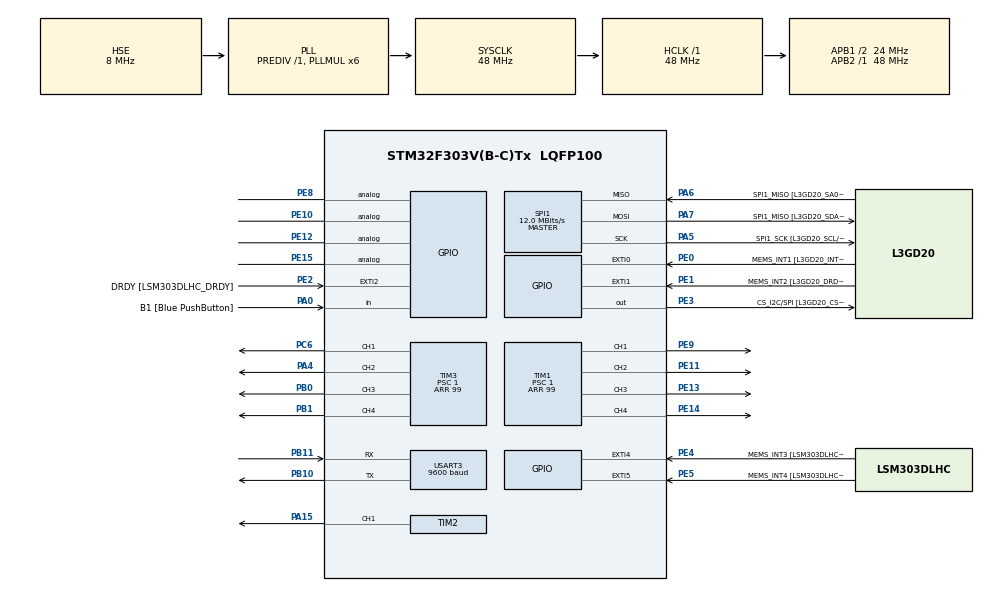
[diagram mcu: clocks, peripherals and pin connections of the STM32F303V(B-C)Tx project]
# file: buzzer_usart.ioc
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Mcu.Family=STM32F3
Mcu.Name=STM32F303V(B-C)Tx
Mcu.Package=LQFP100
NVIC.PriorityGroup=NVIC_PRIORITYGROUP_1
NVIC.TIM4_IRQn=true\:0\:0\:false\:false\:true\:true\:true
NVIC.USART3_IRQn=true\:1\:1\:true\:false\:true\:true\:true
PA0.GPIO_Label=B1 [Blue PushButton]
PA0.Signal=GPIO_Input
PA12.GPIO_Label=DP
PA12.Signal=USB_DP
PA13.GPIO_Label=SWDIO
PA13.Mode=Serial_Wire
PA13.Signal=SYS_JTMS-SWDIO
PA14.GPIO_Label=SWCLK
PA14.Mode=Serial_Wire
PA14.Signal=SYS_JTCK-SWCLK
PA15.Signal=S_TIM2_CH1_ETR
PA4.Signal=S_TIM3_CH2
PA5.GPIO_Label=SPI1_SCK [L3GD20_SCL/SPC]
PA5.Mode=Full_Duplex_Master
PA5.Signal=SPI1_SCK
PA6.GPIO_Label=SPI1_MISO [L3GD20_SA0/SDO]
PA6.Mode=Full_Duplex_Master
PA6.Signal=SPI1_MISO
PA7.GPIO_Label=SPI1_MISO [L3GD20_SDA/SDI/SDO]
PA7.Mode=Full_Duplex_Master
PA7.Signal=SPI1_MOSI
PB0.Signal=S_TIM3_CH3
PB1.Signal=S_TIM3_CH4
PB10.Mode=Asynchronous
PB10.Signal=USART3_TX
PB11.Mode=Asynchronous
PB11.Signal=USART3_RX
PB3.GPIO_Label=SWO
PB3.Signal=SYS_JTDO-TRACESWO
PB6.GPIO_Label=I2C1_SCL [LSM303DLHC_SCL]
PB6.GPIO_Pu=GPIO_PULLUP
PB6.Signal=I2C1_SCL
PB7.GPIO_Label=I2C1_SDA [LSM303DLHC_SDA]
PB7.GPIO_Pu=GPIO_PULLUP
PB7.Signal=I2C1_SDA
PC14-OSC32_IN.GPIO_Label=OSC32_IN
PC14-OSC32_IN.Signal=RCC_OSC32_IN
PC15-OSC32_OUT.GPIO_Label=OSC32_OUT
PC15-OSC32_OUT.Signal=RCC_OSC32_OUT
PC6.Signal=S_TIM3_CH1
PE0.GPIO_Label=MEMS_INT1 [L3GD20_INT1]
PE0.GPIO_ModeDefaultEXTI=GPIO_MODE_EVT_RISING
PE0.Signal=GPXTI0
PE1.GPIO_Label=MEMS_INT2 [L3GD20_DRDY/INT2]
PE1.GPIO_ModeDefaultEXTI=GPIO_MODE_EVT_RISING
PE1.Signal=GPXTI1
PE10.Signal=SharedAnalog_PE10
PE11.Signal=S_TIM1_CH2
PE12.Signal=SharedAnalog_PE12
PE13.Signal=S_TIM1_CH3
PE14.Signal=S_TIM1_CH4
PE15.Signal=SharedAnalog_PE15
PE2.GPIO_Label=DRDY [LSM303DLHC_DRDY]
PE2.GPIO_ModeDefaultEXTI=GPIO_MODE_EVT_RISING
PE2.Signal=GPXTI2
PE3.GPIO_Label=CS_I2C/SPI [L3GD20_CS_I2C/SPI]
PE3.Signal=GPIO_Output
PE4.GPIO_Label=MEMS_INT3 [LSM303DLHC_INT1]
PE4.GPIO_ModeDefaultEXTI=GPIO_MODE_EVT_RISING
PE4.Signal=GPXTI4
PE5.GPIO_Label=MEMS_INT4 [LSM303DLHC_INT2]
PE5.GPIO_ModeDefaultEXTI=GPIO_MODE_EVT_RISING
PE5.Signal=GPXTI5
PE8.Signal=SharedAnalog_PE8
PE9.Signal=S_TIM1_CH1
PF0-OSC_IN.GPIO_Label=OSC_IN
PF0-OSC_IN.Mode=HSE-External-Oscillator
PF0-OSC_IN.Signal=RCC_OSC_IN
PF1-OSC_OUT.GPIO_Label=OSC_OUT
PF1-OSC_OUT.Mode=HSE-External-Oscillator
PF1-OSC_OUT.Signal=RCC_OSC_OUT
ProjectManager.HeapSize=0x200
ProjectManager.StackSize=0x400
ProjectManager.TargetToolchain=STM32CubeIDE
RCC.AHBFreq_Value=48000000
RCC.APB1CLKDivider=RCC_HCLK_DIV2
RCC.APB1Freq_Value=24000000
RCC.APB1TimFreq_Value=48000000
RCC.APB2Freq_Value=48000000
RCC.APB2TimFreq_Value=48000000
RCC.CortexFreq_Value=48000000
RCC.HCLKFreq_Value=48000000
RCC.HSE_VALUE=8000000
RCC.HSI_VALUE=8000000
RCC.LSE_VALUE=32768
RCC.PLLMUL=RCC_PLL_MUL6
RCC.PLLSourceVirtual=RCC_PLLSOURCE_HSE
RCC.SYSCLKFreq_VALUE=48000000
RCC.SYSCLKSourceVirtual=RCC_SYSCLKSOURCE_PLLCLK
RCC.USBFreq_Value=48000000
SH.S_TIM1_CH1.0=TIM1_CH1,PWM Generation1 CH1
SH.S_TIM1_CH2.0=TIM1_CH2,PWM Generation2 CH2
SH.S_TIM1_CH3.0=TIM1_CH3,PWM Generation3 CH3
SH.S_TIM1_CH4.0=TIM1_CH4,PWM Generation4 CH4
SH.S_TIM2_CH1_ETR.0=TIM2_CH1,PWM Generation1 CH1
SH.S_TIM3_CH1.0=TIM3_CH1,PWM Generation1 CH1
SH.S_TIM3_CH2.0=TIM3_CH2,PWM Generation2 CH2
SH.S_TIM3_CH3.0=TIM3_CH3,PWM Generation3 CH3
SH.S_TIM3_CH4.0=TIM3_CH4,PWM Generation4 CH4
SH.SharedAnalog_PE10.0=ADC3_IN14
SH.SharedAnalog_PE10.1=GPIO_Analog
SH.SharedAnalog_PE12.0=ADC3_IN16
SH.SharedAnalog_PE12.1=GPIO_Analog
SH.SharedAnalog_PE15.0=ADC4_IN2
SH.SharedAnalog_PE15.1=GPIO_Analog
SH.SharedAnalog_PE8.0=ADC3_IN6
SH.SharedAnalog_PE8.1=GPIO_Analog
SPI1.BaudRatePrescaler=SPI_BAUDRATEPRESCALER_4
SPI1.BaudRatePrescaler-Full_Duplex_Master=SPI_BAUDRATEPRESCALER_2
SPI1.CalculateBaudRate=12.0 MBits/s
SPI1.CalculateBaudRate-Full_Duplex_Master=24.0 MBits/s
SPI1.Direction=SPI_DIRECTION_2LINES
SPI1.Mode=SPI_MODE_MASTER
SPI1.Mode-Full_Duplex_Master=SPI_MODE_MASTER
SPI1.VirtualType=VM_MASTER
TIM1.Channel-PWM\ Generation1\ CH1=TIM_CHANNEL_1
TIM1.Channel-PWM\ Generation2\ CH2=TIM_CHANNEL_2
TIM1.Channel-PWM\ Generation3\ CH3=TIM_CHANNEL_3
TIM1.Channel-PWM\ Generation4\ CH4=TIM_CHANNEL_4
TIM1.Period=99
TIM1.Prescaler=1
TIM2.Channel-PWM\ Generation1\ CH1=TIM_CHANNEL_1
TIM2.Period=99
TIM2.Prescaler=1
TIM3.Channel-PWM\ Generation1\ CH1=TIM_CHANNEL_1
TIM3.Channel-PWM\ Generation2\ CH2=TIM_CHANNEL_2
TIM3.Channel-PWM\ Generation3\ CH3=TIM_CHANNEL_3
TIM3.Channel-PWM\ Generation4\ CH4=TIM_CHANNEL_4
TIM3.Period=99
TIM3.Prescaler=1
TIM4.Period=9999
TIM4.Prescaler=299
USART3.BaudRate=9600
USART3.VirtualMode-Asynchronous=VM_ASYNC
VP_TIM1_VS_ClockSourceINT.Mode=Internal
VP_TIM2_VS_ClockSourceINT.Mode=Internal
VP_TIM4_VS_ClockSourceINT.Mode=Internal
board=STM32F3DISCOVERY

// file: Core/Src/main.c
/* USER CODE BEGIN Header */
/**
  ******************************************************************************
  * @file           : main.c
  * @brief          : Main program body
  ******************************************************************************
  * @attention
  *
  * <h2><center>&copy; Copyright (c) 2021 STMicroelectronics.
  * All rights reserved.</center></h2>
  *
  * This software component is licensed by ST under BSD 3-Clause license,
  * the "License"; You may not use this file except in compliance with the
  * License. You may obtain a copy of the License at:
  *                        opensource.org/licenses/BSD-3-Clause
  *
  ******************************************************************************
  */
/* USER CODE END Header */
#include "main.h"

/* USER CODE BEGIN Includes */
#include "string.h"
#include "stdio.h"
/* USER CODE END Includes */

SPI_HandleTypeDef hspi1;

TIM_HandleTypeDef htim1;
TIM_HandleTypeDef htim2;
TIM_HandleTypeDef htim3;
TIM_HandleTypeDef htim4;

UART_HandleTypeDef huart3;

void SystemClock_Config(void);
static void MX_GPIO_Init(void);
static void MX_SPI1_Init(void);
static void MX_TIM1_Init(void);
static void MX_TIM2_Init(void);
static void MX_USART3_UART_Init(void);
static void MX_TIM3_Init(void);
static void MX_TIM4_Init(void);

/* USER CODE BEGIN 0 */
unsigned char data;
unsigned char msg[30] = {'\0'};
int msg_pointer = 0;
int sw = 0;
uint16_t freq = 0;
void clean_msg() {
    for(int i = 0; i < 30; i++) {
      msg[i] = '\0';
    }
}

int command_type() {
  unsigned char command_2[] = {'S', 'E', 'T', ' ', 'B', 'U', 'Z', 'Z', 'E', 'R', ' ', 'F', 'R', 'E', 'Q', ' ', 'T', 'O', ' '};

  unsigned char command_1[] = {'S', 'E', 'T', ' ', 'L', 'E', 'D', ' ', 'T', 'O', ' '};

  int i = 0;
  for(i = 0; i < 11; i++) {
    if(msg[i] != command_1[i]) {
      break;
    }
  }
  if(i == 11) return 1;
  for(i = 0; i < 19; i++) {
    if(msg[i] != command_2[i]) {
      break;
    }
  }
  if(i == 19) return 2;
  return -1;
}
void handle_command() {
  int num = 0;
  int cmd_type = command_type();
  if(cmd_type == -1) return;

  if(cmd_type == 1) {
    sscanf(msg, "SET LED TO %d", &num);
    if(num < 0 || num > 100) return;
    __HAL_TIM_SET_COMPARE(&htim1, TIM_CHANNEL_1, num);
    __HAL_TIM_SET_COMPARE(&htim1, TIM_CHANNEL_2, num);
    __HAL_TIM_SET_COMPARE(&htim1, TIM_CHANNEL_3, num);
    __HAL_TIM_SET_COMPARE(&htim1, TIM_CHANNEL_4, num);
    __HAL_TIM_SET_COMPARE(&htim3, TIM_CHANNEL_1, num);
    __HAL_TIM_SET_COMPARE(&htim3, TIM_CHANNEL_2, num);
    __HAL_TIM_SET_COMPARE(&htim3, TIM_CHANNEL_3, num);
    __HAL_TIM_SET_COMPARE(&htim3, TIM_CHANNEL_4, num);
  } else if(cmd_type == 2) {
    if (sw == 0 || sw == 2) {
      sscanf(msg, "SET BUZZER FREQ TO %d", &num);
      if((num < 0 || num > 20000) && sw != 2 && num != 99999) return;
      if(num == 99999) {
        sw = 2;
      } else if(num == -1) {
        sw = 3;
      }else {
        freq = num;
        sw = 1;
      }
    }
  }
}
void HAL_UART_RxCpltCallback(UART_HandleTypeDef *huart){
  if(huart->Instance == USART3){
    msg[msg_pointer] = data == 0x0D ? '\0' : data;
    if(++msg_pointer == 30 && data != 0x0D) {
      clean_msg();
      msg_pointer = 0;
    } else if (data == 0x0D) {
      handle_command();
      clean_msg();
      msg_pointer = 0;
    }
  }

  HAL_UART_Receive_IT(&huart3,&data,sizeof(data));

}
/* USER CODE END 0 */

int main(void)
{

  /* MCU Configuration--------------------------------------------------------*/

  /* Reset of all peripherals, Initializes the Flash interface and the Systick. */
  HAL_Init();

  /* Configure the system clock */
  SystemClock_Config();

  /* Initialize all configured peripherals */
  MX_GPIO_Init();
  MX_SPI1_Init();
  MX_TIM1_Init();
  MX_TIM2_Init();
  MX_USART3_UART_Init();
  MX_TIM3_Init();
  MX_TIM4_Init();
  /* USER CODE BEGIN 2 */
  HAL_TIM_PWM_Start(&htim1, TIM_CHANNEL_1);
  HAL_TIM_PWM_Start(&htim1, TIM_CHANNEL_2);
  HAL_TIM_PWM_Start(&htim1, TIM_CHANNEL_3);
  HAL_TIM_PWM_Start(&htim1, TIM_CHANNEL_4);
  HAL_TIM_PWM_Start(&htim3, TIM_CHANNEL_1);
  HAL_TIM_PWM_Start(&htim3, TIM_CHANNEL_2);
  HAL_TIM_PWM_Start(&htim3, TIM_CHANNEL_3);
  HAL_TIM_PWM_Start(&htim3, TIM_CHANNEL_4);
  HAL_TIM_PWM_Start(&htim2, TIM_CHANNEL_1);
  HAL_TIM_Base_Start_IT(&htim4);
  HAL_UART_Receive_IT(&huart3,&data,sizeof(data));
  /* USER CODE END 2 */

  /* Infinite loop */
  while (1)
  {

  }
}

void SystemClock_Config(void)
{
  RCC_OscInitTypeDef RCC_OscInitStruct = {0};
  RCC_ClkInitTypeDef RCC_ClkInitStruct = {0};
  RCC_PeriphCLKInitTypeDef PeriphClkInit = {0};

  /** Initializes the RCC Oscillators according to the specified parameters
  * in the RCC_OscInitTypeDef structure.
  */
  RCC_OscInitStruct.OscillatorType = RCC_OSCILLATORTYPE_HSE;
  RCC_OscInitStruct.HSEState = RCC_HSE_ON;
  RCC_OscInitStruct.HSEPredivValue = RCC_HSE_PREDIV_DIV1;
  RCC_OscInitStruct.HSIState = RCC_HSI_ON;
  RCC_OscInitStruct.PLL.PLLState = RCC_PLL_ON;
  RCC_OscInitStruct.PLL.PLLSource = RCC_PLLSOURCE_HSE;
  RCC_OscInitStruct.PLL.PLLMUL = RCC_PLL_MUL6;
  if (HAL_RCC_OscConfig(&RCC_OscInitStruct) != HAL_OK)
  {
    Error_Handler();
  }
  /** Initializes the CPU, AHB and APB buses clocks
  */
  RCC_ClkInitStruct.ClockType = RCC_CLOCKTYPE_HCLK|RCC_CLOCKTYPE_SYSCLK
                              |RCC_CLOCKTYPE_PCLK1|RCC_CLOCKTYPE_PCLK2;
  RCC_ClkInitStruct.SYSCLKSource = RCC_SYSCLKSOURCE_PLLCLK;
  RCC_ClkInitStruct.AHBCLKDivider = RCC_SYSCLK_DIV1;
  RCC_ClkInitStruct.APB1CLKDivider = RCC_HCLK_DIV2;
  RCC_ClkInitStruct.APB2CLKDivider = RCC_HCLK_DIV1;

  if (HAL_RCC_ClockConfig(&RCC_ClkInitStruct, FLASH_LATENCY_1) != HAL_OK)
  {
    Error_Handler();
  }
  PeriphClkInit.PeriphClockSelection = RCC_PERIPHCLK_USART3|RCC_PERIPHCLK_TIM1;
  PeriphClkInit.Usart3ClockSelection = RCC_USART3CLKSOURCE_PCLK1;
  PeriphClkInit.Tim1ClockSelection = RCC_TIM1CLK_HCLK;
  if (HAL_RCCEx_PeriphCLKConfig(&PeriphClkInit) != HAL_OK)
  {
    Error_Handler();
  }
}

static void MX_SPI1_Init(void)
{

  /* SPI1 parameter configuration*/
  hspi1.Instance = SPI1;
  hspi1.Init.Mode = SPI_MODE_MASTER;
  hspi1.Init.Direction = SPI_DIRECTION_2LINES;
  hspi1.Init.DataSize = SPI_DATASIZE_4BIT;
  hspi1.Init.CLKPolarity = SPI_POLARITY_LOW;
  hspi1.Init.CLKPhase = SPI_PHASE_1EDGE;
  hspi1.Init.NSS = SPI_NSS_SOFT;
  hspi1.Init.BaudRatePrescaler = SPI_BAUDRATEPRESCALER_4;
  hspi1.Init.FirstBit = SPI_FIRSTBIT_MSB;
  hspi1.Init.TIMode = SPI_TIMODE_DISABLE;
  hspi1.Init.CRCCalculation = SPI_CRCCALCULATION_DISABLE;
  hspi1.Init.CRCPolynomial = 7;
  hspi1.Init.CRCLength = SPI_CRC_LENGTH_DATASIZE;
  hspi1.Init.NSSPMode = SPI_NSS_PULSE_ENABLE;
  if (HAL_SPI_Init(&hspi1) != HAL_OK)
  {
    Error_Handler();
  }

}

static void MX_TIM1_Init(void)
{

  TIM_ClockConfigTypeDef sClockSourceConfig = {0};
  TIM_MasterConfigTypeDef sMasterConfig = {0};
  TIM_OC_InitTypeDef sConfigOC = {0};
  TIM_BreakDeadTimeConfigTypeDef sBreakDeadTimeConfig = {0};

  htim1.Instance = TIM1;
  htim1.Init.Prescaler = 1;
  htim1.Init.CounterMode = TIM_COUNTERMODE_UP;
  htim1.Init.Period = 99;
  htim1.Init.ClockDivision = TIM_CLOCKDIVISION_DIV1;
  htim1.Init.RepetitionCounter = 0;
  htim1.Init.AutoReloadPreload = TIM_AUTORELOAD_PRELOAD_DISABLE;
  if (HAL_TIM_Base_Init(&htim1) != HAL_OK)
  {
    Error_Handler();
  }
  sClockSourceConfig.ClockSource = TIM_CLOCKSOURCE_INTERNAL;
  if (HAL_TIM_ConfigClockSource(&htim1, &sClockSourceConfig) != HAL_OK)
  {
    Error_Handler();
  }
  if (HAL_TIM_PWM_Init(&htim1) != HAL_OK)
  {
    Error_Handler();
  }
  sMasterConfig.MasterOutputTrigger = TIM_TRGO_RESET;
  sMasterConfig.MasterOutputTrigger2 = TIM_TRGO2_RESET;
  sMasterConfig.MasterSlaveMode = TIM_MASTERSLAVEMODE_DISABLE;
  if (HAL_TIMEx_MasterConfigSynchronization(&htim1, &sMasterConfig) != HAL_OK)
  {
    Error_Handler();
  }
  sConfigOC.OCMode = TIM_OCMODE_PWM1;
  sConfigOC.Pulse = 0;
  sConfigOC.OCPolarity = TIM_OCPOLARITY_HIGH;
  sConfigOC.OCNPolarity = TIM_OCNPOLARITY_HIGH;
  sConfigOC.OCFastMode = TIM_OCFAST_DISABLE;
  sConfigOC.OCIdleState = TIM_OCIDLESTATE_RESET;
  sConfigOC.OCNIdleState = TIM_OCNIDLESTATE_RESET;
  if (HAL_TIM_PWM_ConfigChannel(&htim1, &sConfigOC, TIM_CHANNEL_1) != HAL_OK)
  {
    Error_Handler();
  }
  if (HAL_TIM_PWM_ConfigChannel(&htim1, &sConfigOC, TIM_CHANNEL_2) != HAL_OK)
  {
    Error_Handler();
  }
  if (HAL_TIM_PWM_ConfigChannel(&htim1, &sConfigOC, TIM_CHANNEL_3) != HAL_OK)
  {
    Error_Handler();
  }
  if (HAL_TIM_PWM_ConfigChannel(&htim1, &sConfigOC, TIM_CHANNEL_4) != HAL_OK)
  {
    Error_Handler();
  }
  sBreakDeadTimeConfig.OffStateRunMode = TIM_OSSR_DISABLE;
  sBreakDeadTimeConfig.OffStateIDLEMode = TIM_OSSI_DISABLE;
  sBreakDeadTimeConfig.LockLevel = TIM_LOCKLEVEL_OFF;
  sBreakDeadTimeConfig.DeadTime = 0;
  sBreakDeadTimeConfig.BreakState = TIM_BREAK_DISABLE;
  sBreakDeadTimeConfig.BreakPolarity = TIM_BREAKPOLARITY_HIGH;
  sBreakDeadTimeConfig.BreakFilter = 0;
  sBreakDeadTimeConfig.Break2State = TIM_BREAK2_DISABLE;
  sBreakDeadTimeConfig.Break2Polarity = TIM_BREAK2POLARITY_HIGH;
  sBreakDeadTimeConfig.Break2Filter = 0;
  sBreakDeadTimeConfig.AutomaticOutput = TIM_AUTOMATICOUTPUT_DISABLE;
  if (HAL_TIMEx_ConfigBreakDeadTime(&htim1, &sBreakDeadTimeConfig) != HAL_OK)
  {
    Error_Handler();
  }
  HAL_TIM_MspPostInit(&htim1);

}

static void MX_TIM2_Init(void)
{

  TIM_ClockConfigTypeDef sClockSourceConfig = {0};
  TIM_MasterConfigTypeDef sMasterConfig = {0};
  TIM_OC_InitTypeDef sConfigOC = {0};

  htim2.Instance = TIM2;
  htim2.Init.Prescaler = 1;
  htim2.Init.CounterMode = TIM_COUNTERMODE_UP;
  htim2.Init.Period = 99;
  htim2.Init.ClockDivision = TIM_CLOCKDIVISION_DIV1;
  htim2.Init.AutoReloadPreload = TIM_AUTORELOAD_PRELOAD_DISABLE;
  if (HAL_TIM_Base_Init(&htim2) != HAL_OK)
  {
    Error_Handler();
  }
  sClockSourceConfig.ClockSource = TIM_CLOCKSOURCE_INTERNAL;
  if (HAL_TIM_ConfigClockSource(&htim2, &sClockSourceConfig) != HAL_OK)
  {
    Error_Handler();
  }
  if (HAL_TIM_PWM_Init(&htim2) != HAL_OK)
  {
    Error_Handler();
  }
  sMasterConfig.MasterOutputTrigger = TIM_TRGO_RESET;
  sMasterConfig.MasterSlaveMode = TIM_MASTERSLAVEMODE_DISABLE;
  if (HAL_TIMEx_MasterConfigSynchronization(&htim2, &sMasterConfig) != HAL_OK)
  {
    Error_Handler();
  }
  sConfigOC.OCMode = TIM_OCMODE_PWM1;
  sConfigOC.Pulse = 0;
  sConfigOC.OCPolarity = TIM_OCPOLARITY_HIGH;
  sConfigOC.OCFastMode = TIM_OCFAST_DISABLE;
  if (HAL_TIM_PWM_ConfigChannel(&htim2, &sConfigOC, TIM_CHANNEL_1) != HAL_OK)
  {
    Error_Handler();
  }
  HAL_TIM_MspPostInit(&htim2);

}

static void MX_TIM3_Init(void)
{

  TIM_MasterConfigTypeDef sMasterConfig = {0};
  TIM_OC_InitTypeDef sConfigOC = {0};

  htim3.Instance = TIM3;
  htim3.Init.Prescaler = 1;
  htim3.Init.CounterMode = TIM_COUNTERMODE_UP;
  htim3.Init.Period = 99;
  htim3.Init.ClockDivision = TIM_CLOCKDIVISION_DIV1;
  htim3.Init.AutoReloadPreload = TIM_AUTORELOAD_PRELOAD_DISABLE;
  if (HAL_TIM_PWM_Init(&htim3) != HAL_OK)
  {
    Error_Handler();
  }
  sMasterConfig.MasterOutputTrigger = TIM_TRGO_RESET;
  sMasterConfig.MasterSlaveMode = TIM_MASTERSLAVEMODE_DISABLE;
  if (HAL_TIMEx_MasterConfigSynchronization(&htim3, &sMasterConfig) != HAL_OK)
  {
    Error_Handler();
  }
  sConfigOC.OCMode = TIM_OCMODE_PWM1;
  sConfigOC.Pulse = 0;
  sConfigOC.OCPolarity = TIM_OCPOLARITY_HIGH;
  sConfigOC.OCFastMode = TIM_OCFAST_DISABLE;
  if (HAL_TIM_PWM_ConfigChannel(&htim3, &sConfigOC, TIM_CHANNEL_1) != HAL_OK)
  {
    Error_Handler();
  }
  if (HAL_TIM_PWM_ConfigChannel(&htim3, &sConfigOC, TIM_CHANNEL_2) != HAL_OK)
  {
    Error_Handler();
  }
  if (HAL_TIM_PWM_ConfigChannel(&htim3, &sConfigOC, TIM_CHANNEL_3) != HAL_OK)
  {
    Error_Handler();
  }
  if (HAL_TIM_PWM_ConfigChannel(&htim3, &sConfigOC, TIM_CHANNEL_4) != HAL_OK)
  {
    Error_Handler();
  }
  HAL_TIM_MspPostInit(&htim3);

}

static void MX_TIM4_Init(void)
{

  TIM_ClockConfigTypeDef sClockSourceConfig = {0};
  TIM_MasterConfigTypeDef sMasterConfig = {0};

  htim4.Instance = TIM4;
  htim4.Init.Prescaler = 299;
  htim4.Init.CounterMode = TIM_COUNTERMODE_UP;
  htim4.Init.Period = 9999;
  htim4.Init.ClockDivision = TIM_CLOCKDIVISION_DIV1;
  htim4.Init.AutoReloadPreload = TIM_AUTORELOAD_PRELOAD_DISABLE;
  if (HAL_TIM_Base_Init(&htim4) != HAL_OK)
  {
    Error_Handler();
  }
  sClockSourceConfig.ClockSource = TIM_CLOCKSOURCE_INTERNAL;
  if (HAL_TIM_ConfigClockSource(&htim4, &sClockSourceConfig) != HAL_OK)
  {
    Error_Handler();
  }
  sMasterConfig.MasterOutputTrigger = TIM_TRGO_RESET;
  sMasterConfig.MasterSlaveMode = TIM_MASTERSLAVEMODE_DISABLE;
  if (HAL_TIMEx_MasterConfigSynchronization(&htim4, &sMasterConfig) != HAL_OK)
  {
    Error_Handler();
  }

}

static void MX_USART3_UART_Init(void)
{

  huart3.Instance = USART3;
  huart3.Init.BaudRate = 9600;
  huart3.Init.WordLength = UART_WORDLENGTH_8B;
  huart3.Init.StopBits = UART_STOPBITS_1;
  huart3.Init.Parity = UART_PARITY_NONE;
  huart3.Init.Mode = UART_MODE_TX_RX;
  huart3.Init.HwFlowCtl = UART_HWCONTROL_NONE;
  huart3.Init.OverSampling = UART_OVERSAMPLING_16;
  huart3.Init.OneBitSampling = UART_ONE_BIT_SAMPLE_DISABLE;
  huart3.AdvancedInit.AdvFeatureInit = UART_ADVFEATURE_NO_INIT;
  if (HAL_UART_Init(&huart3) != HAL_OK)
  {
    Error_Handler();
  }

}

static void MX_GPIO_Init(void)
{
  GPIO_InitTypeDef GPIO_InitStruct = {0};

  /* GPIO Ports Clock Enable */
  __HAL_RCC_GPIOE_CLK_ENABLE();
  __HAL_RCC_GPIOC_CLK_ENABLE();
  __HAL_RCC_GPIOF_CLK_ENABLE();
  __HAL_RCC_GPIOA_CLK_ENABLE();
  __HAL_RCC_GPIOB_CLK_ENABLE();

  /*Configure GPIO pin Output Level */
  HAL_GPIO_WritePin(CS_I2C_SPI_GPIO_Port, CS_I2C_SPI_Pin, GPIO_PIN_RESET);

  /*Configure GPIO pins : DRDY_Pin MEMS_INT3_Pin MEMS_INT4_Pin MEMS_INT1_Pin
                           MEMS_INT2_Pin */
  GPIO_InitStruct.Pin = DRDY_Pin|MEMS_INT3_Pin|MEMS_INT4_Pin|MEMS_INT1_Pin
                          |MEMS_INT2_Pin;
  GPIO_InitStruct.Mode = GPIO_MODE_EVT_RISING;
  GPIO_InitStruct.Pull = GPIO_NOPULL;
  HAL_GPIO_Init(GPIOE, &GPIO_InitStruct);

  /*Configure GPIO pin : CS_I2C_SPI_Pin */
  GPIO_InitStruct.Pin = CS_I2C_SPI_Pin;
  GPIO_InitStruct.Mode = GPIO_MODE_OUTPUT_PP;
  GPIO_InitStruct.Pull = GPIO_NOPULL;
  GPIO_InitStruct.Speed = GPIO_SPEED_FREQ_LOW;
  HAL_GPIO_Init(CS_I2C_SPI_GPIO_Port, &GPIO_InitStruct);

  /*Configure GPIO pin : B1_Pin */
  GPIO_InitStruct.Pin = B1_Pin;
  GPIO_InitStruct.Mode = GPIO_MODE_INPUT;
  GPIO_InitStruct.Pull = GPIO_NOPULL;
  HAL_GPIO_Init(B1_GPIO_Port, &GPIO_InitStruct);

  /*Configure GPIO pins : PE8 PE10 PE12 PE15 */
  GPIO_InitStruct.Pin = GPIO_PIN_8|GPIO_PIN_10|GPIO_PIN_12|GPIO_PIN_15;
  GPIO_InitStruct.Mode = GPIO_MODE_ANALOG;
  GPIO_InitStruct.Pull = GPIO_NOPULL;
  HAL_GPIO_Init(GPIOE, &GPIO_InitStruct);

  /*Configure GPIO pin : DP_Pin */
  GPIO_InitStruct.Pin = DP_Pin;
  GPIO_InitStruct.Mode = GPIO_MODE_AF_PP;
  GPIO_InitStruct.Pull = GPIO_NOPULL;
  GPIO_InitStruct.Speed = GPIO_SPEED_FREQ_HIGH;
  GPIO_InitStruct.Alternate = GPIO_AF14_USB;
  HAL_GPIO_Init(DP_GPIO_Port, &GPIO_InitStruct);

  /*Configure GPIO pins : I2C1_SCL_Pin I2C1_SDA_Pin */
  GPIO_InitStruct.Pin = I2C1_SCL_Pin|I2C1_SDA_Pin;
  GPIO_InitStruct.Mode = GPIO_MODE_AF_OD;
  GPIO_InitStruct.Pull = GPIO_PULLUP;
  GPIO_InitStruct.Speed = GPIO_SPEED_FREQ_HIGH;
  GPIO_InitStruct.Alternate = GPIO_AF4_I2C1;
  HAL_GPIO_Init(GPIOB, &GPIO_InitStruct);

}

void Error_Handler(void)
{
  __disable_irq();
  while (1)
  {
  }
}

/************************ (C) COPYRIGHT STMicroelectronics *****END OF FILE****/
